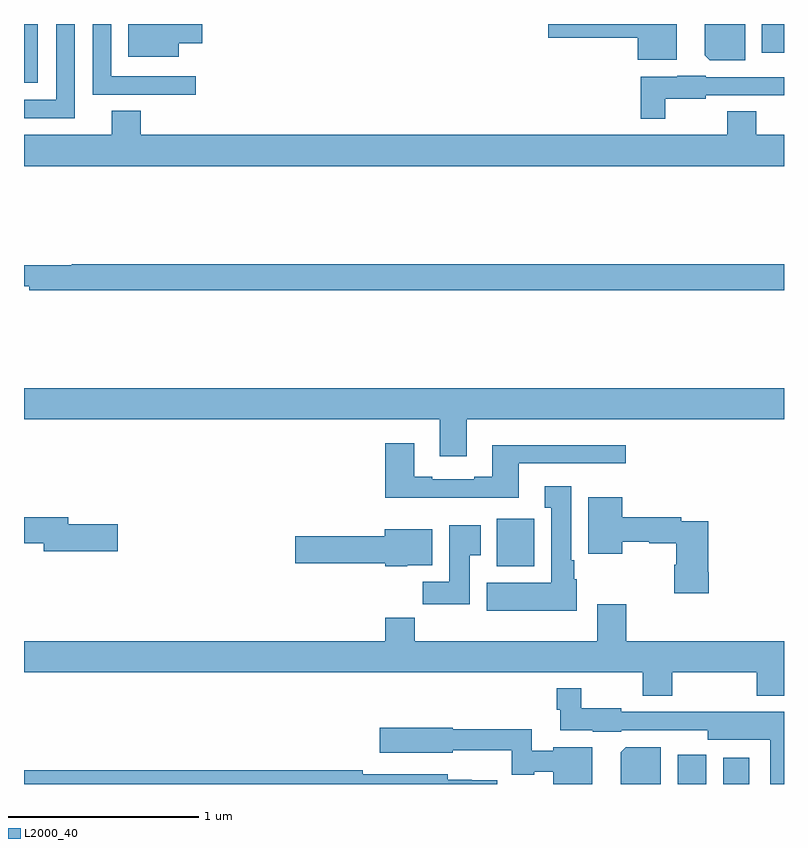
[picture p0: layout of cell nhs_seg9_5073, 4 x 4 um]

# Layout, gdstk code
import gdstk
lib = gdstk.Library(unit=1e-6, precision=1e-09)
def R(c, l, rs):  # rectangles x0, y0, x1, y1
    for r in rs: c.add(gdstk.rectangle(r[:2], r[2:], *l))
def P(c, l, *ps):  # polygons
    for p in ps: c.add(gdstk.Polygon(p, *l))
L2000_40 = (2000, 40)

nhs_seg9_5073 = lib.new_cell('nhs_seg9_5073')
R(nhs_seg9_5073, L2000_40, [(408.44,1194.5,408.592,1194.653), (408.68,1194.5,408.817,1194.637), (407.489,1195.646,407.685,1195.897), (405,1198.19,405.073,1198.5), (408.884,1198.35,409,1198.5)])
P(nhs_seg9_5073, L2000_40, [(408.436,1198.5),(407.76,1198.5),(407.76,1198.427),(408.23,1198.427),(408.23,1198.313),(408.436,1198.313)],
  [(405.814,1198.4),(405.937,1198.4),(405.937,1198.5),(405.549,1198.5),(405.549,1198.328),(405.814,1198.328)],
  [(405.904,1198.224),(405.459,1198.224),(405.459,1198.5),(405.363,1198.5),(405.363,1198.128),(405.904,1198.128)],
  [(405.267,1198.5),(405.171,1198.5),(405.171,1198.101),(405,1198.101),(405,1198.005),(405.267,1198.005)],
  [(408.796,1198.5),(408.584,1198.5),(408.584,1198.336),(408.61,1198.31),(408.796,1198.31)],
  [(408.376,1198.106),(408.588,1198.106),(408.588,1198.125),(409,1198.125),(409,1198.221),(408.588,1198.221),(408.588,1198.228),(408.438,1198.228),(408.438,1198.222),(408.247,1198.222),(408.247,1198.001),(408.376,1198.001)],
  [(409,1197.916),(408.855,1197.916),(408.855,1198.04),(408.7,1198.04),(408.7,1197.916),(405.614,1197.916),(405.614,1198.043),(405.461,1198.043),(405.461,1197.916),(405,1197.916),(405,1197.752),(409,1197.752)],
  [(409,1197.236),(405.251,1197.236),(405.251,1197.229),(405,1197.229),(405,1197.119),(405.028,1197.119),(405.028,1197.1),(409,1197.1)],
  [(407.329,1196.42),(409,1196.42),(409,1196.584),(405,1196.584),(405,1196.42),(407.189,1196.42),(407.189,1196.226),(407.329,1196.226)],
  [(407.605,1196.187),(408.166,1196.187),(408.166,1196.284),(407.465,1196.284),(407.465,1196.116),(407.369,1196.116),(407.369,1196.103),(407.149,1196.103),(407.149,1196.116),(407.053,1196.116),(407.053,1196.293),(406.901,1196.293),(406.901,1196.006),(407.605,1196.006)],
  [(407.908,1195.578),(407.896,1195.578),(407.896,1195.678),(407.881,1195.678),(407.881,1196.068),(407.741,1196.068),(407.741,1195.955),(407.774,1195.955),(407.774,1195.558),(407.435,1195.558),(407.435,1195.412),(407.908,1195.412)],
  [(408.605,1195.615),(408.6,1195.615),(408.6,1195.884),(408.458,1195.884),(408.458,1195.904),(408.148,1195.904),(408.148,1196.008),(407.969,1196.008),(407.969,1195.712),(408.148,1195.712),(408.148,1195.776),(408.291,1195.776),(408.291,1195.768),(408.434,1195.768),(408.434,1195.653),(408.422,1195.653),(408.422,1195.503),(408.605,1195.503)],
  [(405.493,1195.868),(405.232,1195.868),(405.232,1195.904),(405,1195.904),(405,1195.768),(405.104,1195.768),(405.104,1195.726),(405.493,1195.726)],
  [(407.347,1195.705),(407.404,1195.705),(407.404,1195.861),(407.237,1195.861),(407.237,1195.564),(407.098,1195.564),(407.098,1195.446),(407.347,1195.446)],
  [(407.016,1195.652),(407.149,1195.652),(407.149,1195.84),(406.898,1195.84),(406.898,1195.805),(406.428,1195.805),(406.428,1195.663),(406.902,1195.663),(406.902,1195.646),(407.016,1195.646)],
  [(408.411,1195.088),(408.856,1195.088),(408.856,1194.965),(409,1194.965),(409,1195.252),(408.17,1195.252),(408.17,1195.447),(408.017,1195.447),(408.017,1195.252),(407.057,1195.252),(407.057,1195.376),(406.901,1195.376),(406.901,1195.252),(405,1195.252),(405,1195.088),(408.256,1195.088),(408.256,1194.964),(408.411,1194.964)],
  [(409,1194.88),(408.661,1194.88),(408.661,1194.879),(408.144,1194.879),(408.144,1194.898),(407.932,1194.898),(407.932,1195.003),(407.803,1195.003),(407.803,1194.89),(407.822,1194.89),(407.822,1194.782),(407.994,1194.782),(407.994,1194.776),(408.144,1194.776),(408.144,1194.783),(408.599,1194.783),(408.599,1194.734),(408.927,1194.734),(408.927,1194.5),(409,1194.5)],
  [(407.992,1194.694),(407.786,1194.694),(407.786,1194.676),(407.673,1194.676),(407.673,1194.787),(407.256,1194.787),(407.256,1194.795),(406.872,1194.795),(406.872,1194.665),(407.256,1194.665),(407.256,1194.677),(407.567,1194.677),(407.567,1194.549),(407.685,1194.549),(407.685,1194.565),(407.786,1194.565),(407.786,1194.5),(407.992,1194.5)],
  [(408.352,1194.694),(408.166,1194.694),(408.14,1194.668),(408.14,1194.5),(408.352,1194.5)],
  [(407.491,1194.521),(407.356,1194.521),(407.356,1194.523),(407.23,1194.523),(407.23,1194.552),(406.784,1194.552),(406.784,1194.572),(405,1194.572),(405,1194.5),(407.491,1194.5)])

lib.write_gds('nhs_seg9_5073.gds')
